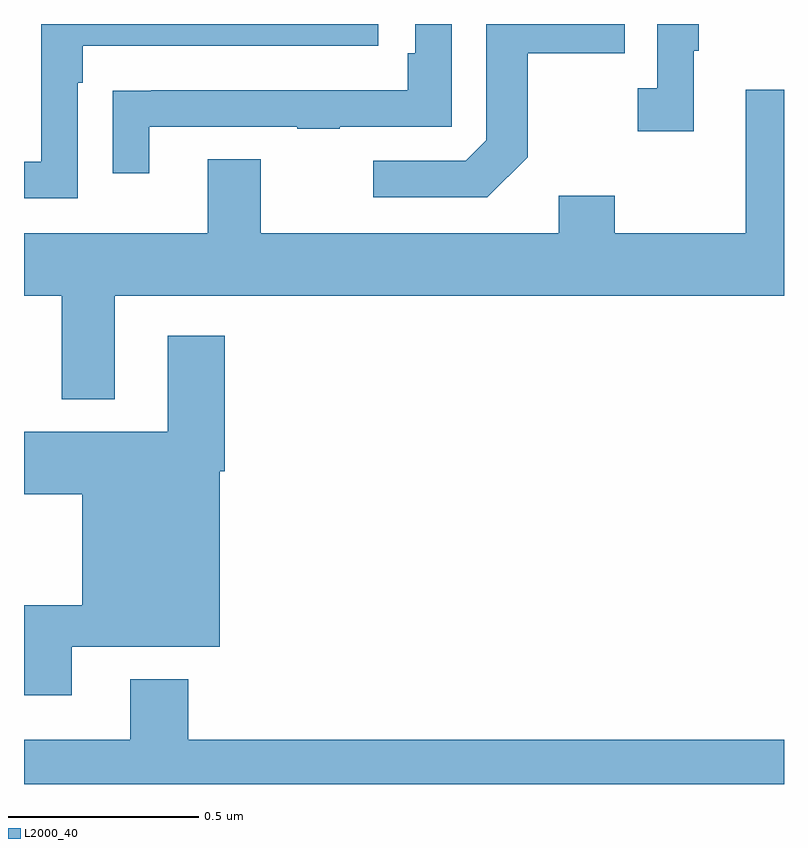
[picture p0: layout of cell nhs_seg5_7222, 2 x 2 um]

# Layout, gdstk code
import gdstk
lib = gdstk.Library(unit=1e-6, precision=1e-09)
def P(c, l, *ps):  # polygons
    for p in ps: c.add(gdstk.Polygon(p, *l))
L2000_40 = (2000, 40)

nhs_seg5_7222 = lib.new_cell('nhs_seg5_7222')
P(nhs_seg5_7222, L2000_40, [(207.763,866.729),(207.775,866.729),(207.775,866.799),(207.666,866.799),(207.666,866.63),(207.615,866.63),(207.615,866.517),(207.763,866.517)],
  [(206.142,866.645),(206.155,866.645),(206.155,866.742),(206.932,866.742),(206.932,866.799),(206.046,866.799),(206.046,866.436),(206,866.436),(206,866.34),(206.142,866.34)],
  [(207.325,866.449),(207.325,866.722),(207.581,866.722),(207.581,866.799),(207.216,866.799),(207.216,866.493),(207.162,866.439),(206.919,866.439),(206.919,866.343),(207.219,866.343)],
  [(206.329,866.529),(206.719,866.529),(206.719,866.524),(206.831,866.524),(206.831,866.529),(207.126,866.529),(207.126,866.799),(207.03,866.799),(207.03,866.722),(207.01,866.722),(207.01,866.625),(206.335,866.625),(206.335,866.624),(206.233,866.624),(206.233,866.406),(206.329,866.406)],
  [(206.239,866.084),(208,866.084),(208,866.626),(207.899,866.626),(207.899,866.248),(207.555,866.248),(207.555,866.347),(207.407,866.347),(207.407,866.248),(206.623,866.248),(206.623,866.443),(206.483,866.443),(206.483,866.248),(206,866.248),(206,866.084),(206.099,866.084),(206.099,865.811),(206.239,865.811)],
  [(206.125,865.16),(206.515,865.16),(206.515,865.622),(206.528,865.622),(206.528,865.978),(206.378,865.978),(206.378,865.726),(206,865.726),(206,865.562),(206.153,865.562),(206.153,865.27),(206,865.27),(206,865.032),(206.125,865.032)],
  [(208,864.916),(206.432,864.916),(206.432,865.075),(206.279,865.075),(206.279,864.916),(206,864.916),(206,864.799),(208,864.799)])

lib.write_gds('nhs_seg5_7222.gds')
